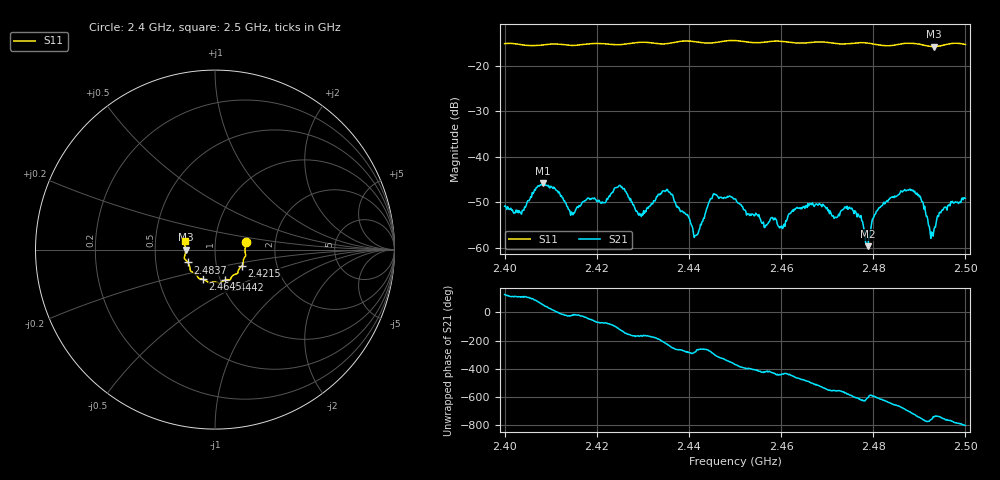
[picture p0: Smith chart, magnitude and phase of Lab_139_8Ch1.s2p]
# Hz S RI R 50
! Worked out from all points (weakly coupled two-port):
!   601 points, 2.4 GHz to 2.5 GHz, reference 50 ohm
!   highest |S21| = -45.87 dB at 2.4083 GHz (marker M1); lowest = -59.7 dB at 2.4788 GHz (marker M2)
!   lowest |S11| = -15.7 dB at 2.4932 GHz (marker M3), VSWR 1.39, Z = 36 - j0.0537 ohm
!   |S11| at or under -10 dB: start of sweep to end of sweep
!   S12 and S22 are empty: the file has one direction only
!   S11 on the Smith chart (normalised r, x): 2.4 GHz: 1.41, +0.12; 2.4215 GHz: 1.33, -0.25; 2.4442 GHz: 1.05, -0.37; 2.4645 GHz: 0.83, -0.29; 2.4837 GHz: 0.73, -0.11; 2.5 GHz: 0.71, +0.07
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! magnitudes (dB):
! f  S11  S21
! 2.4 GHz  -15.1  -50.9
! 2.4037 GHz  -15.3  -52.6
! 2.4083 GHz  -15.4  -45.9
! 2.4167 GHz  -15.3  -50.5
! 2.4215 GHz  -15.1  -50.1
! 2.4252 GHz  -15.3  -46.4
! 2.4295 GHz  -14.8  -52.8
! 2.4333 GHz  -15.1  -48.2
! 2.4358 GHz  -15.0  -47.8
! 2.4415 GHz  -14.7  -57.3
! 2.4442 GHz  -15.0  -50.6
! 2.45 GHz  -14.4  -49.3
! 2.46 GHz  -14.6  -55.6
! 2.4645 GHz  -15.0  -51.5
! 2.4667 GHz  -14.8  -50.5
! 2.4752 GHz  -15.1  -51.4
! 2.4788 GHz  -15.0  -59.7
! 2.4833 GHz  -15.6  -49.4
! 2.4837 GHz  -15.5  -49.1
! 2.489 GHz  -15.1  -47.6
! 2.4932 GHz  -15.7  -56.1
! 2.5 GHz  -15.3  -49.2
